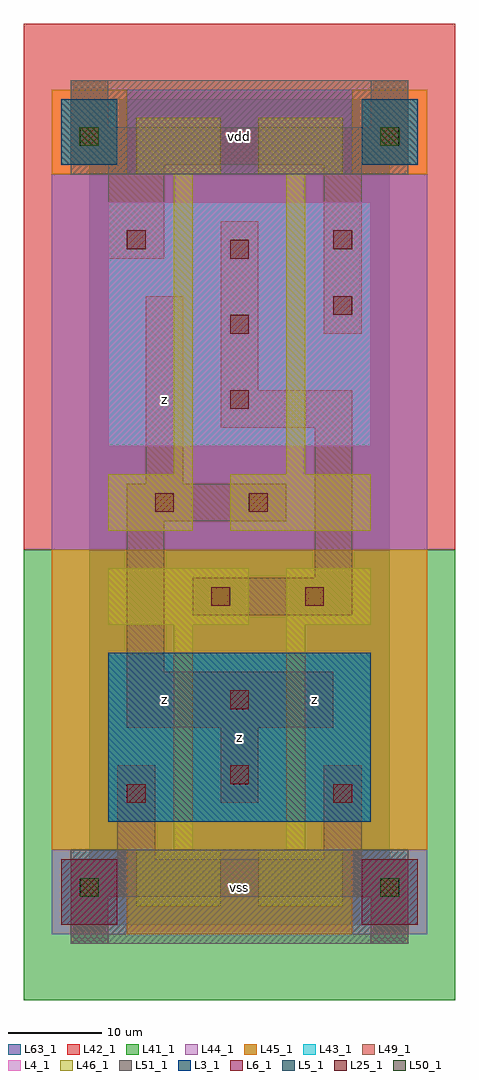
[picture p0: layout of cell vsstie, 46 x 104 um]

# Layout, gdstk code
import gdstk
lib = gdstk.Library(unit=1e-6, precision=1e-09)
def R(c, l, rs):  # rectangles x0, y0, x1, y1
    for r in rs: c.add(gdstk.rectangle(r[:2], r[2:], *l))
def A(c, l, x, y, w, h, nx, ny, dx, dy):  # array of equal rectangles
    R(c, l, [(x+i*dx, y+j*dy, x+i*dx+w, y+j*dy+h) for i in range(nx) for j in range(ny)])
L3_1 = (3, 1)
L4_1 = (4, 1)
L5_1 = (5, 1)
L6_1 = (6, 1)
L25_1 = (25, 1)
L41_1 = (41, 1)
L42_1 = (42, 1)
L43_1 = (43, 1)
L44_1 = (44, 1)
L45_1 = (45, 1)
L46_1 = (46, 1)
L49_1 = (49, 1)
L50_1 = (50, 1)
L51_1 = (51, 1)
L63_1 = (63, 1)

vsstie = lib.new_cell('vsstie')
R(vsstie, L3_1, [(2,11,30,29)])
R(vsstie, L4_1, [(2,51,30,77)])
R(vsstie, L5_1, [(-3,81,3,88), (29,81,35,88)])
R(vsstie, L6_1, [(-3,0,3,7), (-3,0,3,7), (29,0,35,7), (29,0,35,7)])
A(vsstie, L25_1, 15, 55, 2, 2, 1, 3, 0, 8)
R(vsstie, L25_1, [(-1,3,1,5), (31,3,33,5), (4,13,6,15), (26,13,28,15), (15,15,17,17), (15,23,17,25), (13,34,15,36), (23,34,25,36), (7,44,9,46), (17,44,19,46), (26,65,28,67), (4,72,6,74), (26,72,28,74), (-1,83,1,85), (31,83,33,85)])
R(vsstie, L41_1, [(-7,-8,39,40)])
R(vsstie, L42_1, [(-7,40,39,96)])
R(vsstie, L43_1, [(-3,0,3,7), (29,0,35,7), (2,11,30,29), (2,51,30,77), (-3,81,3,88), (29,81,35,88)])
R(vsstie, L44_1, [(-4,-1,4,8), (28,-1,36,8), (-4,40,36,80), (4,80,28,89)])
R(vsstie, L45_1, [(4,-1,28,8), (-4,8,36,40), (-4,80,4,89), (28,80,36,89)])
R(vsstie, L46_1, [(5,2,14,8), (18,2,27,8), (9,8,11,32), (21,8,23,32), (2,32,17,38), (21,32,30,38), (2,42,11,48), (15,42,30,48), (9,48,11,80), (21,48,23,80), (5,80,14,86), (18,80,27,86)])
R(vsstie, L49_1, [(-2,-2,2,3), (30,-2,34,3), (-2,3,34,7), (3,7,7,17), (25,7,29,17), (14,13,18,21), (4,21,26,27), (4,27,8,43), (11,33,28,37), (24,37,28,53), (4,43,21,47), (6,47,10,67), (14,53,28,57), (14,57,18,75), (25,63,29,81), (2,71,8,81), (-2,81,34,85), (-2,85,2,90), (30,85,34,90)])
R(vsstie, L50_1, [(-1,3,1,5), (31,3,33,5), (-1,83,1,85), (31,83,33,85)])
R(vsstie, L51_1, [(-2,-2,34,8), (-2,80,34,90)])
R(vsstie, L63_1, [(0,0,32,88)])
vsstie.add(gdstk.Label('z', (8,24), layer=49, texttype=1))
vsstie.add(gdstk.Label('z', (8,56), layer=49, texttype=1))
vsstie.add(gdstk.Label('z', (16,20), layer=49, texttype=1))
vsstie.add(gdstk.Label('z', (24,24), layer=49, texttype=1))
vsstie.add(gdstk.Label('vss', (16,4), layer=51, texttype=1))
vsstie.add(gdstk.Label('vdd', (16,84), layer=51, texttype=1))

lib.write_gds('vsstie.gds')
